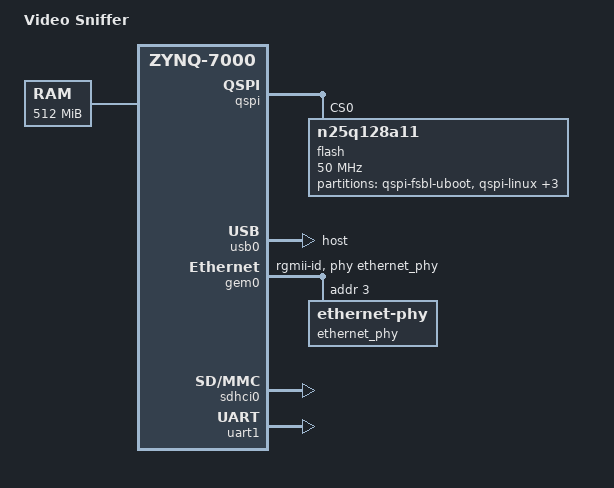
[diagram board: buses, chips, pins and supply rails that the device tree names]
/dts-v1/;
/include/ "zynq-7000.dtsi"

/ {
	model = "Video Sniffer";
	compatible = "xlnx,zynq-7000";

	aliases {
		ethernet0 = &gem0;
		serial0 = &uart1;
		spi0 = &qspi;
	};

	memory {
		device_type = "memory";
		reg = <0x0 0x20000000>;
	};

	chosen {
		bootargs = "console=ttyPS0,115200 root=/dev/ram rw earlyprintk";
		linux,stdout-path = "/amba/serial@e0001000";
	};

	amba {
		fpga-axi@0 {
			compatible = "simple-bus";
			#address-cells = <0x1>;
			#size-cells = <0x1>;
			ranges;

			vsniffdatavdma:axivdma@43000000 {
				compatible = "xlnx,axi-vdma-1.00.a";
				#address-cells = <0x1>;
				#size-cells = <0x1>;
				#dma-cells = <0x1>;
				#dma-channels = <0x1>;
				reg = <0x43000000 0x1000>;
				xlnx,num-fstores = <0x1>;
				xlnx,flush-fsync = <0x1>;

				dma-channel1@43000000 {
					compatible = "xlnx,axi-vdma-s2mm-channel";
					interrupts = <0x0 0x1d 0x4>;
					xlnx,datawidth = <0x20>;
					xlnx,genlock-mode = <0x0>;
					xlnx,include-dre = <0x0>;
				};
			};

			vsniffdata@0x7a200000 {
				compatible = "vsniff,video-sniffer-data";
				reg = <0x7a200000 0x10000>;
				dmas = <&vsniffdatavdma 0x1>;
				dma-names = "captured-video";
			};
		};
	};
};

&qspi {
	status = "okay";
	is-dual = <0>;
	num-cs = <1>;
	flash@0 {
		compatible = "n25q128a11";
		reg = <0x0>;
		spi-tx-bus-width = <1>;
		spi-rx-bus-width = <4>;
		spi-max-frequency = <50000000>;
		#address-cells = <1>;
		#size-cells = <1>;
		partition@qspi-fsbl-uboot {
			label = "qspi-fsbl-uboot";
			reg = <0x0 0x100000>;
		};
		partition@qspi-linux {
			label = "qspi-linux";
			reg = <0x100000 0x500000>;
		};
		partition@qspi-device-tree {
			label = "qspi-device-tree";
			reg = <0x600000 0x20000>;
		};
		partition@qspi-rootfs {
			label = "qspi-rootfs";
			reg = <0x620000 0x5E0000>;
		};
		partition@qspi-bitstream {
			label = "qspi-bitstream";
			reg = <0xC00000 0x400000>;
		};
	};
};

&usb0 {
	status = "okay";
	dr_mode = "host";
	phy_type = "ulpi";
};

&gem0 {
	status = "okay";
	phy-mode = "rgmii-id";
	phy-handle = <&ethernet_phy>;

	ethernet_phy: ethernet-phy@3 {
		reg = <3>;
	};
};

&sdhci0 {
	status = "okay";
	broken-cd = <0x1>;
	wp-inverted = <0x1>;
};

&uart1 {
	status = "okay";
};
